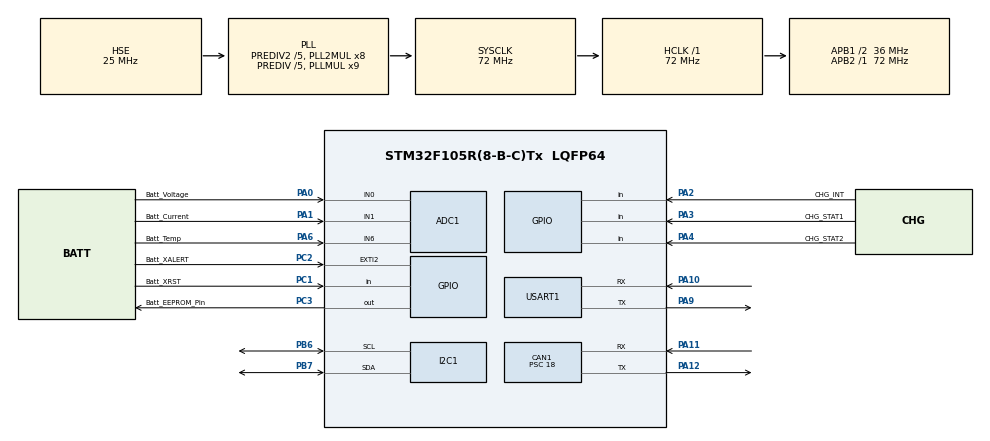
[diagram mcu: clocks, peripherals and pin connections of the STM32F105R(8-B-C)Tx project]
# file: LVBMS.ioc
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ADC1.Channel-0\#ChannelRegularConversion=ADC_CHANNEL_0
ADC1.NbrOfConversion=1
ADC1.NbrOfConversionFlag=1
ADC1.Rank-0\#ChannelRegularConversion=1
ADC1.SamplingTime-0\#ChannelRegularConversion=ADC_SAMPLETIME_55CYCLES_5
ADC1.master=1
CAN1.BS1=CAN_BS1_2TQ
CAN1.CalculateBaudRate=500000
CAN1.CalculateTimeBit=2000
CAN1.CalculateTimeQuantum=500.0
CAN1.Prescaler=18
Dma.ADC1.0.Direction=DMA_PERIPH_TO_MEMORY
Dma.ADC1.0.Instance=DMA1_Channel1
Dma.ADC1.0.MemDataAlignment=DMA_MDATAALIGN_HALFWORD
Dma.ADC1.0.MemInc=DMA_MINC_ENABLE
Dma.ADC1.0.Mode=DMA_NORMAL
Dma.ADC1.0.PeriphDataAlignment=DMA_PDATAALIGN_HALFWORD
Dma.ADC1.0.PeriphInc=DMA_PINC_DISABLE
Dma.ADC1.0.Priority=DMA_PRIORITY_MEDIUM
Dma.Request0=ADC1
Mcu.Family=STM32F1
Mcu.Name=STM32F105R(8-B-C)Tx
Mcu.Package=LQFP64
NVIC.DMA1_Channel1_IRQn=true\:0\:0\:false\:false\:true\:false\:true\:true
NVIC.EXTI2_IRQn=true\:12\:0\:true\:false\:true\:true\:true\:true
NVIC.PriorityGroup=NVIC_PRIORITYGROUP_4
NVIC.TIM2_IRQn=true\:13\:0\:true\:false\:true\:true\:true\:true
NVIC.TIM3_IRQn=true\:14\:0\:true\:false\:true\:true\:true\:true
NVIC.TIM6_IRQn=true\:15\:0\:true\:false\:true\:true\:true\:true
PA0-WKUP.GPIO_Label=Batt_Voltage
PA0-WKUP.Signal=ADCx_IN0
PA1.GPIO_Label=Batt_Current
PA1.Signal=ADCx_IN1
PA10.Mode=Asynchronous
PA10.Signal=USART1_RX
PA11.Mode=CAN_Activate
PA11.Signal=CAN1_RX
PA12.Mode=CAN_Activate
PA12.Signal=CAN1_TX
PA13.Mode=Serial_Wire
PA13.Signal=SYS_JTMS-SWDIO
PA14.Mode=Serial_Wire
PA14.Signal=SYS_JTCK-SWCLK
PA2.GPIO_Label=CHG_INT
PA2.Signal=GPIO_Input
PA3.GPIO_Label=CHG_STAT1
PA3.Signal=GPIO_Input
PA4.GPIO_Label=CHG_STAT2
PA4.Signal=GPIO_Input
PA6.GPIO_Label=Batt_Temp
PA6.Signal=ADCx_IN6
PA9.Mode=Asynchronous
PA9.Signal=USART1_TX
PB6.Mode=I2C
PB6.Signal=I2C1_SCL
PB7.Mode=I2C
PB7.Signal=I2C1_SDA
PC1.GPIO_Label=Batt_XRST
PC1.Signal=GPIO_Input
PC2.GPIO_Label=Batt_XALERT
PC2.Signal=GPXTI2
PC3.GPIO_Label=Batt_EEPROM_Pin
PC3.Signal=GPIO_Output
PD0-OSC_IN.Mode=HSE-External-Oscillator
PD0-OSC_IN.Signal=RCC_OSC_IN
PD1-OSC_OUT.Mode=HSE-External-Oscillator
PD1-OSC_OUT.Signal=RCC_OSC_OUT
ProjectManager.HeapSize=0x200
ProjectManager.StackSize=0x400
ProjectManager.TargetToolchain=STM32CubeIDE
RCC.ADCPresc=RCC_ADCPCLK2_DIV6
RCC.AHBFreq_Value=72000000
RCC.APB1CLKDivider=RCC_HCLK_DIV2
RCC.APB1Freq_Value=36000000
RCC.APB1TimFreq_Value=72000000
RCC.APB2Freq_Value=72000000
RCC.APB2TimFreq_Value=72000000
RCC.HCLKFreq_Value=72000000
RCC.HSEDivPLL=RCC_HSE_PREDIV_DIV5
RCC.HSE_VALUE=25000000
RCC.PLLMUL=RCC_PLL_MUL9
RCC.PLLSourceVirtual=RCC_PLLSOURCE_HSE
RCC.Prediv1Source=RCC_PREDIV1_SOURCE_PLL2
RCC.Prediv2=RCC_HSE_PREDIV2_DIV5
RCC.SYSCLKFreq_VALUE=72000000
RCC.SYSCLKSource=RCC_SYSCLKSOURCE_PLLCLK
RCC.USBFreq_Value=48000000
SH.ADCx_IN0.0=ADC1_IN0,IN0
SH.ADCx_IN1.0=ADC1_IN1,IN1
SH.ADCx_IN6.0=ADC1_IN6,IN6
TIM2.Period=7199
TIM2.Prescaler=999
TIM3.Period=7199
TIM3.Prescaler=4999
TIM6.Period=7199
TIM6.Prescaler=19999
USART1.VirtualMode=VM_ASYNC
VP_TIM2_VS_ClockSourceINT.Mode=Internal
VP_TIM3_VS_ClockSourceINT.Mode=Internal
VP_TIM6_VS_ClockSourceINT.Mode=Enable_Timer
board=custom

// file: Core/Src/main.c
/* USER CODE BEGIN Header */
/**
  ******************************************************************************
  * @file           : main.c
  * @brief          : Main program body
  ******************************************************************************
  * @attention
  *
  * Copyright (c) 2025 STMicroelectronics.
  * All rights reserved.
  *
  * This software is licensed under terms that can be found in the LICENSE file
  * in the root directory of this software component.
  * If no LICENSE file comes with this software, it is provided AS-IS.
  *
  ******************************************************************************
  */
/* USER CODE END Header */
#include "main.h"

/* USER CODE BEGIN Includes */
#include "string.h"
#include "stdio.h"
#include "BMS_IC.h"
#include "CAN.h"
/* USER CODE END Includes */

/* USER CODE BEGIN PD */
 can_message_t can_message = {
		  .tx_header.StdId = 0,
		  .tx_header.ExtId = 0,
		  .tx_header.IDE = CAN_ID_STD,
		  .tx_header.RTR = CAN_RTR_DATA,
		  .tx_header.DLC = 8,
  };
  can_id_lookup_t can_id_lookup ={
		  .bms_message_1_id = 666,
		  .bms_message_2_id = 667,
		  .bms_message_3_id = 668,
		  .bms_message_4_id = 669,
  };
  batt_info_t batt_info ={
		  .voltage_buffer = {0},
		  .temp_buffer = 0,
		  .cell_volt_avg = 0,
		  .cell_volt_diff = 0,
		  .cell_volt_highest = 0,
		  .cell_volt_lowest = 0,
		  .cell_volt_sum = 0,
		  .fault_info = 0,
  };
  batt_status_t batt_status;
  char buffer[32];
  uint8_t balance;

  uint8_t mask_balance = 0b10100000;
  uint8_t mask_fault = 0b00011111;
  uint8_t time_since_balancing = 0, time_since_balancing_sec = 0,
		  time_since_fault = 0, time_since_fault_sec = 0,
		  time_since_no_fault = 0, time_since_no_fault_sec = 0,
		  time_since_charing = 0, time_since_charing_sec = 0;

/* USER CODE END PD */

ADC_HandleTypeDef hadc1;
DMA_HandleTypeDef hdma_adc1;

CAN_HandleTypeDef hcan1;

I2C_HandleTypeDef hi2c1;

TIM_HandleTypeDef htim2;
TIM_HandleTypeDef htim3;
TIM_HandleTypeDef htim6;

UART_HandleTypeDef huart1;

void SystemClock_Config(void);
static void MX_GPIO_Init(void);
static void MX_DMA_Init(void);
static void MX_ADC1_Init(void);
static void MX_CAN1_Init(void);
static void MX_I2C1_Init(void);
static void MX_USART1_UART_Init(void);
static void MX_TIM2_Init(void);
static void MX_TIM3_Init(void);
static void MX_TIM6_Init(void);

/* USER CODE BEGIN 0 */

/*The 3 timer interrupts has different responsibilities
 *(&htim2)100ms for batt_info reading
  (&htim3)500ms for CAN transmission
  (&htim6)1s for balancing check
 */
void HAL_TIM_PeriodElapsedCallback(TIM_HandleTypeDef *htim){
	if(htim == &htim2){
		bms_ic_read_faults(&batt_info);
		bms_ic_read_voltage(&batt_info);
		bms_ic_read_current(&batt_info);
		bms_ic_read_temp(&batt_info);
	}
	else if(htim == &htim3){
		can_send(&batt_info, &can_id_lookup, &can_message);
	}
	else if(htim == &htim6){
		  //If no faults and no discharging(6th bit VGOOD is don't care)
		  if((batt_info.fault_info & ~mask_balance) == 0){
			  if(batt_info.cell_volt_diff > 20){
//				  batt_status = batt_state_balancing;
//				  time_since_balancing_sec ++;
			  }
			  else if(batt_info.cell_volt_diff < 10){
				  batt_status = batt_state_standby;
			  }
		  }
		  //If any fault bit is set (0 to bit 4)
		  else if((batt_info.fault_info & mask_fault) != 0){
			  batt_status = batt_state_fault;
			  time_since_fault_sec++;
				snprintf(buffer, sizeof(buffer), "%d\r\n", time_since_fault);  // or %02X for hex
						//Transmit data thru UART serial monitor
						HAL_UART_Transmit(&huart1, (uint8_t*)buffer, strlen(buffer), HAL_MAX_DELAY);
		  }
	}
}

/* USER CODE END 0 */

int main(void)
{

  /* MCU Configuration--------------------------------------------------------*/

  /* Reset of all peripherals, Initializes the Flash interface and the Systick. */
  HAL_Init();

  /* Configure the system clock */
  SystemClock_Config();

  /* Initialize all configured peripherals */
  MX_GPIO_Init();
  MX_DMA_Init();
  MX_ADC1_Init();
  MX_CAN1_Init();
  MX_I2C1_Init();
  MX_USART1_UART_Init();
  MX_TIM2_Init();
  MX_TIM3_Init();
  MX_TIM6_Init();
  /* USER CODE BEGIN 2 */
  HAL_TIM_Base_Start_IT(&htim2);	//100ms for batt_info reading
  HAL_TIM_Base_Start_IT(&htim3);	//500ms for CAN transmission
  HAL_TIM_Base_Start_IT(&htim6);	//1s for balancing check

  HAL_ADCEx_Calibration_Start(&hadc1);
  HAL_CAN_Start(&hcan1);

//  HAL_StatusTypeDef status = HAL_OK;
  bms_ic_host_control_EN();

  /* USER CODE END 2 */

  /* Infinite loop */
  /* USER CODE BEGIN WHILE */
  while (1)
  {
	  time_since_balancing = 0, time_since_balancing_sec = 0;
	  time_since_fault = 0, time_since_fault_sec = 0;
	  time_since_no_fault = 0, time_since_no_fault_sec = 0;
	  time_since_charing = 0, time_since_charing_sec = 0;

    /* USER CODE END WHILE */

    /* USER CODE BEGIN 3 */

//	  while(batt_status == batt_state_standby){
//		  //nihao fine shyt
//	  }
//	  while(batt_status == batt_state_charging){
//
//	  }
//	  while(batt_status == batt_state_discharging){
//
//	  }
	  while(batt_status == batt_state_fault){
		  time_since_balancing_sec = 0;
		  if(time_since_fault_sec == 59){
			  time_since_fault_sec = 0;
			  time_since_fault ++;
		  }
	  }
	  while(batt_status == batt_state_charging_and_balancing){
		  time_since_fault_sec = 0;
		  bms_ic_balance_cells(&batt_info);
		  if(time_since_balancing_sec == 59){
			  time_since_balancing_sec = 0;
			  time_since_balancing ++;
			  time_since_charing ++;
		  }
	  }
	  while(batt_status == batt_state_balancing){
		  bms_ic_balance_cells(&batt_info);
		  time_since_fault_sec = 0;
		  bms_ic_balance_cells(&batt_info);
		  if(time_since_balancing_sec == 59){
			  time_since_balancing_sec = 0;
			  time_since_balancing ++;
			  time_since_charing ++;
		  }
	  }

  /* USER CODE END 3 */
  }
}

void SystemClock_Config(void)
{
  RCC_OscInitTypeDef RCC_OscInitStruct = {0};
  RCC_ClkInitTypeDef RCC_ClkInitStruct = {0};
  RCC_PeriphCLKInitTypeDef PeriphClkInit = {0};

  /** Initializes the RCC Oscillators according to the specified parameters
  * in the RCC_OscInitTypeDef structure.
  */
  RCC_OscInitStruct.OscillatorType = RCC_OSCILLATORTYPE_HSE;
  RCC_OscInitStruct.HSEState = RCC_HSE_ON;
  RCC_OscInitStruct.HSEPredivValue = RCC_HSE_PREDIV_DIV5;
  RCC_OscInitStruct.HSIState = RCC_HSI_ON;
  RCC_OscInitStruct.Prediv1Source = RCC_PREDIV1_SOURCE_PLL2;
  RCC_OscInitStruct.PLL.PLLState = RCC_PLL_ON;
  RCC_OscInitStruct.PLL.PLLSource = RCC_PLLSOURCE_HSE;
  RCC_OscInitStruct.PLL.PLLMUL = RCC_PLL_MUL9;
  RCC_OscInitStruct.PLL2.PLL2State = RCC_PLL2_ON;
  RCC_OscInitStruct.PLL2.PLL2MUL = RCC_PLL2_MUL8;
  RCC_OscInitStruct.PLL2.HSEPrediv2Value = RCC_HSE_PREDIV2_DIV5;
  if (HAL_RCC_OscConfig(&RCC_OscInitStruct) != HAL_OK)
  {
    Error_Handler();
  }

  /** Initializes the CPU, AHB and APB buses clocks
  */
  RCC_ClkInitStruct.ClockType = RCC_CLOCKTYPE_HCLK|RCC_CLOCKTYPE_SYSCLK
                              |RCC_CLOCKTYPE_PCLK1|RCC_CLOCKTYPE_PCLK2;
  RCC_ClkInitStruct.SYSCLKSource = RCC_SYSCLKSOURCE_PLLCLK;
  RCC_ClkInitStruct.AHBCLKDivider = RCC_SYSCLK_DIV1;
  RCC_ClkInitStruct.APB1CLKDivider = RCC_HCLK_DIV2;
  RCC_ClkInitStruct.APB2CLKDivider = RCC_HCLK_DIV1;

  if (HAL_RCC_ClockConfig(&RCC_ClkInitStruct, FLASH_LATENCY_2) != HAL_OK)
  {
    Error_Handler();
  }
  PeriphClkInit.PeriphClockSelection = RCC_PERIPHCLK_ADC;
  PeriphClkInit.AdcClockSelection = RCC_ADCPCLK2_DIV6;
  if (HAL_RCCEx_PeriphCLKConfig(&PeriphClkInit) != HAL_OK)
  {
    Error_Handler();
  }

  /** Configure the Systick interrupt time
  */
  __HAL_RCC_PLLI2S_ENABLE();
}

static void MX_ADC1_Init(void)
{

  ADC_ChannelConfTypeDef sConfig = {0};

  /** Common config
  */
  hadc1.Instance = ADC1;
  hadc1.Init.ScanConvMode = ADC_SCAN_DISABLE;
  hadc1.Init.ContinuousConvMode = DISABLE;
  hadc1.Init.DiscontinuousConvMode = DISABLE;
  hadc1.Init.ExternalTrigConv = ADC_SOFTWARE_START;
  hadc1.Init.DataAlign = ADC_DATAALIGN_RIGHT;
  hadc1.Init.NbrOfConversion = 1;
  if (HAL_ADC_Init(&hadc1) != HAL_OK)
  {
    Error_Handler();
  }

  /** Configure Regular Channel
  */
  sConfig.Channel = ADC_CHANNEL_0;
  sConfig.Rank = ADC_REGULAR_RANK_1;
  sConfig.SamplingTime = ADC_SAMPLETIME_55CYCLES_5;
  if (HAL_ADC_ConfigChannel(&hadc1, &sConfig) != HAL_OK)
  {
    Error_Handler();
  }

}

static void MX_CAN1_Init(void)
{

  hcan1.Instance = CAN1;
  hcan1.Init.Prescaler = 18;
  hcan1.Init.Mode = CAN_MODE_NORMAL;
  hcan1.Init.SyncJumpWidth = CAN_SJW_1TQ;
  hcan1.Init.TimeSeg1 = CAN_BS1_2TQ;
  hcan1.Init.TimeSeg2 = CAN_BS2_1TQ;
  hcan1.Init.TimeTriggeredMode = DISABLE;
  hcan1.Init.AutoBusOff = DISABLE;
  hcan1.Init.AutoWakeUp = DISABLE;
  hcan1.Init.AutoRetransmission = DISABLE;
  hcan1.Init.ReceiveFifoLocked = DISABLE;
  hcan1.Init.TransmitFifoPriority = DISABLE;
  if (HAL_CAN_Init(&hcan1) != HAL_OK)
  {
    Error_Handler();
  }

}

static void MX_I2C1_Init(void)
{

  hi2c1.Instance = I2C1;
  hi2c1.Init.ClockSpeed = 100000;
  hi2c1.Init.DutyCycle = I2C_DUTYCYCLE_2;
  hi2c1.Init.OwnAddress1 = 0;
  hi2c1.Init.AddressingMode = I2C_ADDRESSINGMODE_7BIT;
  hi2c1.Init.DualAddressMode = I2C_DUALADDRESS_DISABLE;
  hi2c1.Init.OwnAddress2 = 0;
  hi2c1.Init.GeneralCallMode = I2C_GENERALCALL_DISABLE;
  hi2c1.Init.NoStretchMode = I2C_NOSTRETCH_DISABLE;
  if (HAL_I2C_Init(&hi2c1) != HAL_OK)
  {
    Error_Handler();
  }

}

static void MX_TIM2_Init(void)
{

  TIM_ClockConfigTypeDef sClockSourceConfig = {0};
  TIM_MasterConfigTypeDef sMasterConfig = {0};

  htim2.Instance = TIM2;
  htim2.Init.Prescaler = 999;
  htim2.Init.CounterMode = TIM_COUNTERMODE_UP;
  htim2.Init.Period = 7199;
  htim2.Init.ClockDivision = TIM_CLOCKDIVISION_DIV1;
  htim2.Init.AutoReloadPreload = TIM_AUTORELOAD_PRELOAD_DISABLE;
  if (HAL_TIM_Base_Init(&htim2) != HAL_OK)
  {
    Error_Handler();
  }
  sClockSourceConfig.ClockSource = TIM_CLOCKSOURCE_INTERNAL;
  if (HAL_TIM_ConfigClockSource(&htim2, &sClockSourceConfig) != HAL_OK)
  {
    Error_Handler();
  }
  sMasterConfig.MasterOutputTrigger = TIM_TRGO_RESET;
  sMasterConfig.MasterSlaveMode = TIM_MASTERSLAVEMODE_DISABLE;
  if (HAL_TIMEx_MasterConfigSynchronization(&htim2, &sMasterConfig) != HAL_OK)
  {
    Error_Handler();
  }

}

static void MX_TIM3_Init(void)
{

  TIM_ClockConfigTypeDef sClockSourceConfig = {0};
  TIM_MasterConfigTypeDef sMasterConfig = {0};

  htim3.Instance = TIM3;
  htim3.Init.Prescaler = 4999;
  htim3.Init.CounterMode = TIM_COUNTERMODE_UP;
  htim3.Init.Period = 7199;
  htim3.Init.ClockDivision = TIM_CLOCKDIVISION_DIV1;
  htim3.Init.AutoReloadPreload = TIM_AUTORELOAD_PRELOAD_DISABLE;
  if (HAL_TIM_Base_Init(&htim3) != HAL_OK)
  {
    Error_Handler();
  }
  sClockSourceConfig.ClockSource = TIM_CLOCKSOURCE_INTERNAL;
  if (HAL_TIM_ConfigClockSource(&htim3, &sClockSourceConfig) != HAL_OK)
  {
    Error_Handler();
  }
  sMasterConfig.MasterOutputTrigger = TIM_TRGO_RESET;
  sMasterConfig.MasterSlaveMode = TIM_MASTERSLAVEMODE_DISABLE;
  if (HAL_TIMEx_MasterConfigSynchronization(&htim3, &sMasterConfig) != HAL_OK)
  {
    Error_Handler();
  }

}

static void MX_TIM6_Init(void)
{

  TIM_MasterConfigTypeDef sMasterConfig = {0};

  htim6.Instance = TIM6;
  htim6.Init.Prescaler = 19999;
  htim6.Init.CounterMode = TIM_COUNTERMODE_UP;
  htim6.Init.Period = 7199;
  htim6.Init.AutoReloadPreload = TIM_AUTORELOAD_PRELOAD_DISABLE;
  if (HAL_TIM_Base_Init(&htim6) != HAL_OK)
  {
    Error_Handler();
  }
  sMasterConfig.MasterOutputTrigger = TIM_TRGO_RESET;
  sMasterConfig.MasterSlaveMode = TIM_MASTERSLAVEMODE_DISABLE;
  if (HAL_TIMEx_MasterConfigSynchronization(&htim6, &sMasterConfig) != HAL_OK)
  {
    Error_Handler();
  }

}

static void MX_USART1_UART_Init(void)
{

  huart1.Instance = USART1;
  huart1.Init.BaudRate = 115200;
  huart1.Init.WordLength = UART_WORDLENGTH_8B;
  huart1.Init.StopBits = UART_STOPBITS_1;
  huart1.Init.Parity = UART_PARITY_NONE;
  huart1.Init.Mode = UART_MODE_TX_RX;
  huart1.Init.HwFlowCtl = UART_HWCONTROL_NONE;
  huart1.Init.OverSampling = UART_OVERSAMPLING_16;
  if (HAL_UART_Init(&huart1) != HAL_OK)
  {
    Error_Handler();
  }

}

static void MX_DMA_Init(void)
{

  /* DMA controller clock enable */
  __HAL_RCC_DMA1_CLK_ENABLE();

  /* DMA interrupt init */
  /* DMA1_Channel1_IRQn interrupt configuration */
  HAL_NVIC_SetPriority(DMA1_Channel1_IRQn, 0, 0);
  HAL_NVIC_EnableIRQ(DMA1_Channel1_IRQn);

}

static void MX_GPIO_Init(void)
{
  GPIO_InitTypeDef GPIO_InitStruct = {0};

  /* GPIO Ports Clock Enable */
  __HAL_RCC_GPIOD_CLK_ENABLE();
  __HAL_RCC_GPIOC_CLK_ENABLE();
  __HAL_RCC_GPIOA_CLK_ENABLE();
  __HAL_RCC_GPIOB_CLK_ENABLE();

  /*Configure GPIO pin Output Level */
  HAL_GPIO_WritePin(Batt_EEPROM_Pin_GPIO_Port, Batt_EEPROM_Pin_Pin, GPIO_PIN_RESET);

  /*Configure GPIO pin : Batt_XRST_Pin */
  GPIO_InitStruct.Pin = Batt_XRST_Pin;
  GPIO_InitStruct.Mode = GPIO_MODE_INPUT;
  GPIO_InitStruct.Pull = GPIO_NOPULL;
  HAL_GPIO_Init(Batt_XRST_GPIO_Port, &GPIO_InitStruct);

  /*Configure GPIO pin : Batt_XALERT_Pin */
  GPIO_InitStruct.Pin = Batt_XALERT_Pin;
  GPIO_InitStruct.Mode = GPIO_MODE_IT_RISING;
  GPIO_InitStruct.Pull = GPIO_NOPULL;
  HAL_GPIO_Init(Batt_XALERT_GPIO_Port, &GPIO_InitStruct);

  /*Configure GPIO pin : Batt_EEPROM_Pin_Pin */
  GPIO_InitStruct.Pin = Batt_EEPROM_Pin_Pin;
  GPIO_InitStruct.Mode = GPIO_MODE_OUTPUT_PP;
  GPIO_InitStruct.Pull = GPIO_NOPULL;
  GPIO_InitStruct.Speed = GPIO_SPEED_FREQ_LOW;
  HAL_GPIO_Init(Batt_EEPROM_Pin_GPIO_Port, &GPIO_InitStruct);

  /*Configure GPIO pins : CHG_INT_Pin CHG_STAT1_Pin CHG_STAT2_Pin */
  GPIO_InitStruct.Pin = CHG_INT_Pin|CHG_STAT1_Pin|CHG_STAT2_Pin;
  GPIO_InitStruct.Mode = GPIO_MODE_INPUT;
  GPIO_InitStruct.Pull = GPIO_NOPULL;
  HAL_GPIO_Init(GPIOA, &GPIO_InitStruct);

  /* EXTI interrupt init*/
  HAL_NVIC_SetPriority(EXTI2_IRQn, 12, 0);
  HAL_NVIC_EnableIRQ(EXTI2_IRQn);

}

void Error_Handler(void)
{
  __disable_irq();
  while (1)
  {
  }
}
